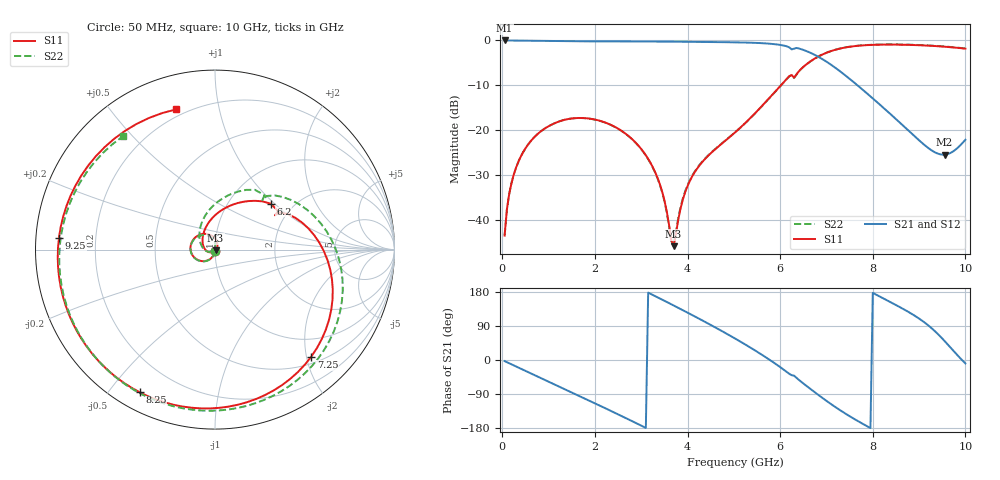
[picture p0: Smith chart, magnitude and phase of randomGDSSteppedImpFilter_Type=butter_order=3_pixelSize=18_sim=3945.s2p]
! freq	dB(S11)	phase(S11)	dB(S12)	phase(S12)
!  dB(S21)	phase(S21)	dB(S22)	phase(S22)
!S-par simulation data
#  GHz  S  DB  R 50
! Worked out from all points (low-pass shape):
!   200 points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, 50 MHz to 10 GHz, reference 50 ohm
!   highest |S21| = -0.01 dB at 50 MHz (marker M1); lowest = -25.4 dB at 9.55 GHz (marker M2)
!   |S21| within 3 dB of the highest: start of sweep to 6.707 GHz
!   lowest |S11| = -45.8 dB at 3.7 GHz (marker M3), VSWR 1.01, Z = 50.3 - j0.399 ohm
!   |S11| at or under -10 dB: start of sweep to 6.017 GHz
!   |S22| runs from -45.5 to -0.9 dB; largest |S21 - S12| = 0
!   S11 on the Smith chart (normalised r, x): 50 MHz: 1.00, -0.01; 6.2 GHz: 1.55, +0.95; 7.25 GHz: 0.62, -2.09; 8.25 GHz: 0.07, -0.60; 9.25 GHz: 0.07, +0.04; 10 GHz: 0.16, +0.75
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0.05  -43.42 -91.1  -0.01 -2.9  -0.01 -2.9  -43.43 -91.0
0.2  -31.67 -101.0  -0.02 -11.6  -0.02 -11.6  -31.67 -100.7
0.5  -24.02 -119.4  -0.06 -28.7  -0.06 -28.7  -24.02 -118.6
1.15  -18.33 -157.2  -0.15 -65.8  -0.15 -65.8  -18.34 -155.3
1.75  -17.27 167.5  -0.20 -99.9  -0.20 -99.9  -17.28 170.9
2.65  -20.66 112.9  -0.22 -152.3  -0.22 -152.3  -20.68 120.9
3.4  -31.93 57.7  -0.25 162.5  -0.25 162.5  -32.06 85.9
3.7  -45.78 -50.5  -0.28 143.9  -0.28 143.9  -45.52 161.3
3.9  -35.35 -126.9  -0.29 131.3  -0.29 131.3  -35.10 -152.3
4.1  -30.27 -148.5  -0.31 118.6  -0.31 118.6  -30.11 -156.6
4.6  -24.19 170.5  -0.36 85.9  -0.36 85.9  -24.12 177.5
5.05  -20.25 134.9  -0.43 55.1  -0.43 55.1  -20.25 149.8
5.7  -13.55 84.1  -0.67 6.4  -0.67 6.4  -13.60 102.4
6.2  -7.92 39.6  -1.57 -36.8  -1.57 -36.8  -7.95 56.3
6.7  -4.34 -0.9  -2.97 -80.7  -2.97 -80.7  -4.34 14.1
7.25  -1.91 -48.1  -6.53 -128.9  -6.53 -128.9  -1.90 -34.5
7.75  -1.13 -85.1  -10.68 -166.2  -10.68 -166.2  -1.10 -71.9
8.25  -0.93 -117.8  -15.17 161.1  -15.17 161.1  -0.89 -104.2
8.35  -0.92 -124.1  -16.09 154.7  -16.09 154.7  -0.88 -110.3
9.25  -1.19 175.6  -24.32 86.1  -24.32 86.1  -1.13 -167.1
9.55  -1.40 151.0  -25.42 50.2  -25.42 50.2  -1.34 170.5
10  -1.82 105.4  -22.11 -9.1  -22.11 -9.1  -1.79 128.9
